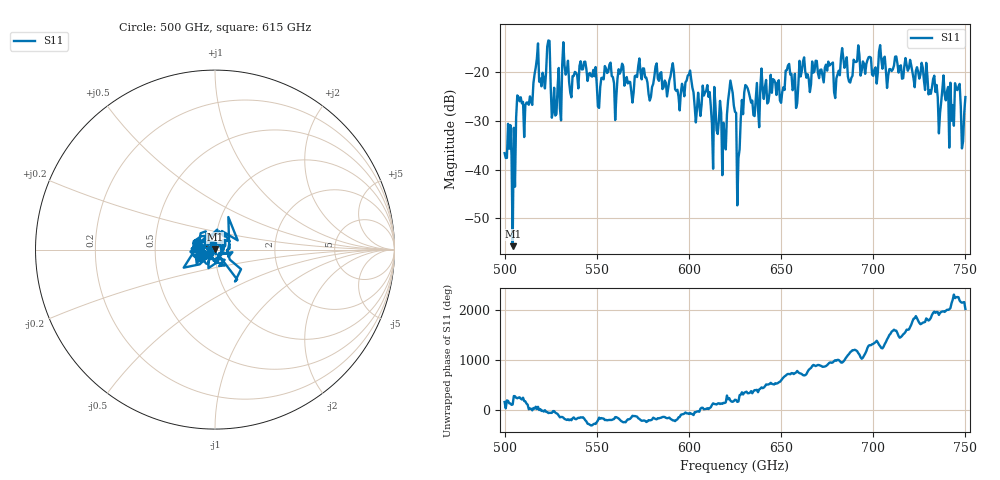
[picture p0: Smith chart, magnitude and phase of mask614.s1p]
!Created with skrf (http://scikit-rf.org).
# GHz S MA R 50.0
!freq magS11 angS11
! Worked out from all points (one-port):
!   401 points, 500 GHz to 750 GHz, reference 50 ohm
!   lowest |S11| = -55.7 dB at 504.4 GHz (marker M1), VSWR 1.00, Z = 49.9 + j0.151 ohm
!   |S11| at or under -10 dB: start of sweep to end of sweep
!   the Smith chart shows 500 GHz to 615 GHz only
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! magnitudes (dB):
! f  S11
! 500 GHz  -36.6
! 502.5 GHz  -35.7
! 504.4 GHz  -55.7
! 507.5 GHz  -25.1
! 511.9 GHz  -26.3
! 516.9 GHz  -19.1
! 520.6 GHz  -20.2
! 523.8 GHz  -13.6
! 526.9 GHz  -23.2
! 531.2 GHz  -18.5
! 562.5 GHz  -20.4
! 579.4 GHz  -25.1
! 590.6 GHz  -19.4
! 593.8 GHz  -23.7
! 610 GHz  -22.7
! 619.4 GHz  -33.5
! 622.5 GHz  -21.8
! 625 GHz  -28.2
! 627.5 GHz  -35.9
! 631.2 GHz  -22.9
! 636.9 GHz  -22.3
! 656.2 GHz  -23.7
! 680 GHz  -21.3
! 684.4 GHz  -19.2
! 687.5 GHz  -22.2
! 691.2 GHz  -17.8
! 718.8 GHz  -19.8
! 750 GHz  -25.2
